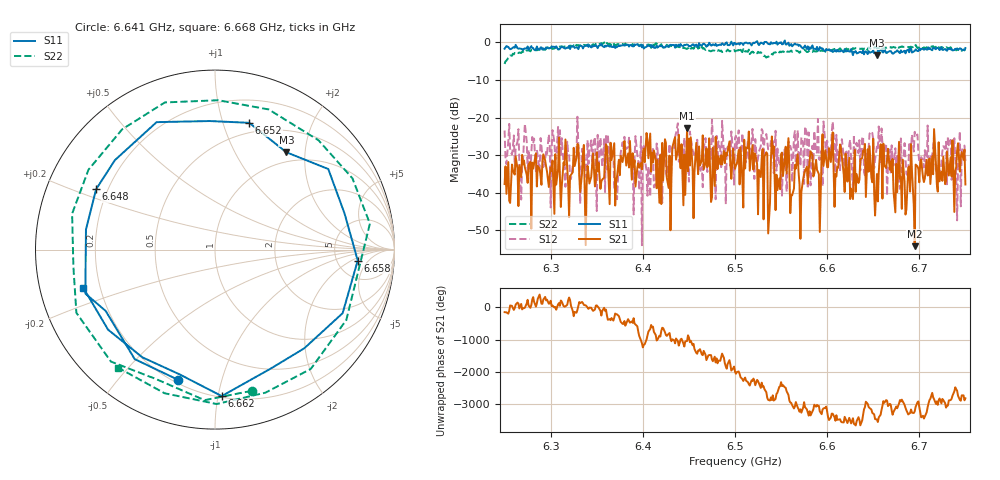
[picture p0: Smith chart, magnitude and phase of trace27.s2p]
# Hz S RI R 50
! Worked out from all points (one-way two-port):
!   401 points, 6.25 GHz to 6.75 GHz, reference 50 ohm
!   highest |S21| = -22.91 dB at 6.448 GHz (marker M1); lowest = -54.2 dB at 6.695 GHz (marker M2)
!   lowest |S11| = -3.4 dB at 6.654 GHz (marker M3), VSWR 5.11, Z = 41.7 + j82.6 ohm
!   |S11| at or under -10 dB: nowhere
!   |S22| runs from -5.8 to 0.0 dB; largest |S21 - S12| = 0.11
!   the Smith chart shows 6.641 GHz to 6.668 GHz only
!   S11 on the Smith chart (normalised r, x): 6.641 GHz: 0.22, -0.73; 6.648 GHz: 0.16, +0.23; 6.652 GHz: 0.40, +1.22; 6.658 GHz: 7.98, -2.66; 6.662 GHz: 0.21, -1.03; 6.668 GHz: 0.14, -0.14
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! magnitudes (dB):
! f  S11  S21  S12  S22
! 6.25 GHz  -1.7  -37.7  -23.5  -5.8
! 6.334 GHz  -1.0  -34.8  -28.3  -0.9
! 6.365 GHz  -1.0  -26.7  -26.7  -0.5
! 6.371 GHz  -1.3  -37.5  -36.1  -0.8
! 6.382 GHz  -0.7  -32.8  -28.4  -0.6
! 6.405 GHz  -0.8  -26.0  -40.8  -0.6
! 6.418 GHz  -1.0  -42.7  -36.2  -1.1
! 6.448 GHz  -0.6  -22.9  -30.1  -1.8
! 6.5 GHz  -0.2  -33.7  -25.5  -2.4
! 6.546 GHz  -0.6  -39.3  -28.2  -2.5
! 6.556 GHz  -0.6  -34.9  -39.7  -2.5
! 6.572 GHz  -1.3  -39.8  -25.3  -2.4
! 6.584 GHz  -0.8  -30.1  -27.5  -2.6
! 6.641 GHz  -2.5  -27.0  -35.4  -1.8
! 6.648 GHz  -2.6  -36.1  -23.7  -2.0
! 6.652 GHz  -2.7  -46.1  -31.2  -1.2
! 6.654 GHz  -3.4  -35.0  -27.7  -1.6
! 6.658 GHz  -2.0  -27.1  -32.3  -1.3
! 6.662 GHz  -1.8  -32.7  -28.2  -1.4
! 6.668 GHz  -2.3  -33.9  -28.5  -1.4
! 6.695 GHz  -2.3  -54.2  -23.8  -1.4
! 6.75 GHz  -1.5  -37.8  -31.5  -2.2
